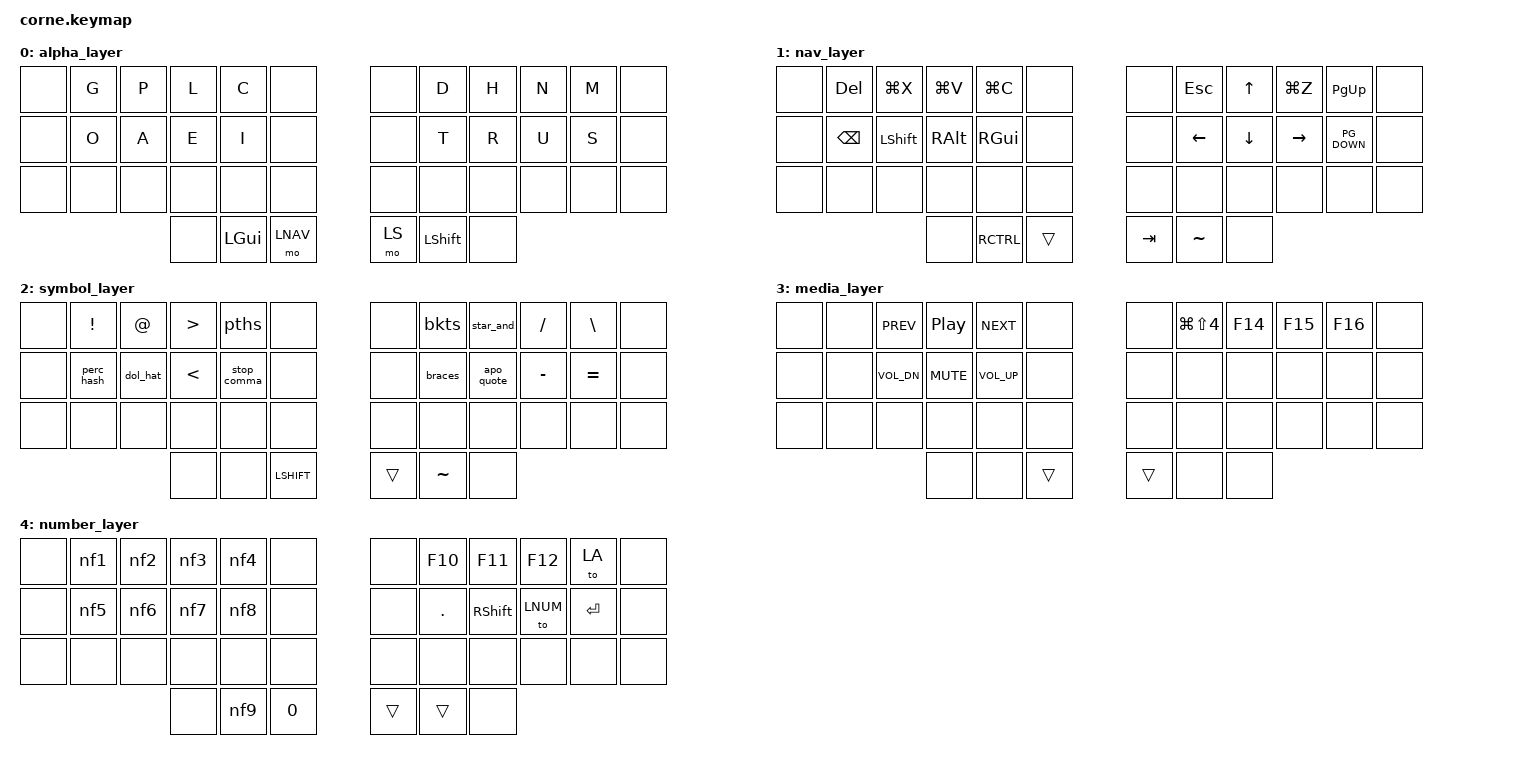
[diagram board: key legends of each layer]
/*
 * Copyright (c) 2020 The ZMK Contributors
 *
 * SPDX-License-Identifier: MIT
 */

#include <behaviors.dtsi>
#include <dt-bindings/zmk/keys.h>
#include <dt-bindings/zmk/bt.h>

#define LA 0
#define LNAV 1
#define LS 2
#define LM 3
#define LNUM 4

&mt {
    flavor = "tap-preferred";
    tapping-term-ms = <250>;
};

/ {
    combos {
        compatible = "zmk,combos";
        combo_ret1 {
            timeout-ms = <50>;
            key-positions = <15 16>;
            bindings = <&kp ENTER>;
        };
	combo_ret2 {
            timeout-ms = <50>;
            key-positions = <19 20>;
            bindings = <&kp ENTER>;
        };
	combo_q {
            timeout-ms = <50>;
            key-positions = <1 2>;
	    layers = <0>;
            bindings = <&kp Q>;
        };
	combo_j {
            timeout-ms = <50>;
            key-positions = <2 3>;
	    layers = <0>;
            bindings = <&kp J>;
        };
	combo_x {
            timeout-ms = <50>;
            key-positions = <1 13>;
	    layers = <0>;
            bindings = <&kp X>;
        };
	combo_b {
            timeout-ms = <50>;
            key-positions = <2 14>;
	    layers = <0>;
            bindings = <&kp B>;
        };
	combo_y {
            timeout-ms = <50>;
            key-positions = <3 15>;
	    layers = <0>;
            bindings = <&kp Y>;
        };
	combo_k {
            timeout-ms = <50>;
            key-positions = <4 16>;
	    layers = <0>;
            bindings = <&kp K>;
        };
	combo_z {
            timeout-ms = <50>;
            key-positions = <9 10>;
	    layers = <0>;
            bindings = <&kp Z>;
        };
	combo_f {
            timeout-ms = <50>;
            key-positions = <7 19>;
	    layers = <0>;
            bindings = <&kp F>;
        };
	combo_h {
            timeout-ms = <50>;
            key-positions = <8 20>;
	    layers = <0>;
            bindings = <&kp H>;
        };
	combo_w {
            timeout-ms = <50>;
            key-positions = <9 21>;
	    layers = <0>;
            bindings = <&kp W>;
        };
	combo_v {
            timeout-ms = <50>;
            key-positions = <10 22>;
	    layers = <0>;
            bindings = <&kp V>;
        };
	combo_tab {
            timeout-ms = <50>;
            key-positions = <37 38>;
	    layers = <0>;
            bindings = <&kp TAB>;
        };
	combo_layer_media {
            timeout-ms = <50>;
            key-positions = <38 39>;
	    layers = <0>;
            bindings = <&mo LM>;
        };
	combo_layer {
            timeout-ms = <50>;
            key-positions = <39 40>;
	    layers = <0>;
            bindings = <&mo LNUM>;
        };
    };
    
    macros {
        pths: parentheses {
            label = "Double parentheses";
            compatible = "zmk,behavior-macro";
            #binding-cells = <0>;
	    wait-ms = <40>;
	    tap-ms = <40>;
            bindings
                = <&kp LPAR &kp RPAR>
                , <&kp LEFT>
                ;
        };
	braces: braces {
            label = "Double braces";
            compatible = "zmk,behavior-macro";
            #binding-cells = <0>;
	    wait-ms = <40>;
	    tap-ms = <40>;
            bindings
                = <&kp LBRC &kp RBRC>
                , <&kp LEFT>
                ;
        };
	bkts: brackets {
            label = "Double brackets";
            compatible = "zmk,behavior-macro";
            #binding-cells = <0>;
	    wait-ms = <40>;
	    tap-ms = <40>;
            bindings
                = <&kp LBKT &kp RBKT>
                , <&kp LEFT>
                ;
        };
    };

        behaviors {
        perc_hash: percent_shift_hash {
            compatible = "zmk,behavior-mod-morph";
            label = "PERCENT_SHIFT_HASH";
            #binding-cells = <0>;
            bindings = <&kp PERCENT>, <&kp HASH>;
	    mods = <(MOD_LSFT)>;
        };
	dol_hat: dollar_shift_hat {
            compatible = "zmk,behavior-mod-morph";
            label = "DOLLAR_SHIFT_HAT";
            #binding-cells = <0>;
            bindings = <&kp PERCENT>, <&kp CARET>;
	    mods = <(MOD_LSFT)>;
        };
	stop_comma: stop_shift_comma {
            compatible = "zmk,behavior-mod-morph";
            label = "STOP_SHIFT_COMMA";
            #binding-cells = <0>;
            bindings = <&kp PERIOD>, <&kp COMMA>;
	    mods = <(MOD_LSFT)>;
        };
	apo_quote: apostrophe_shift_quotes {
            compatible = "zmk,behavior-mod-morph";
            label = "APOSTROPHE_SHIFT_QUOTES";
            #binding-cells = <0>;
            bindings = <&kp APOSTROPHE>, <&kp DOUBLE_QUOTES>;
	    mods = <(MOD_LSFT)>;
        };
	star_and: star_shift_ampersand {
            compatible = "zmk,behavior-mod-morph";
            label = "STAR_SHIFT_AMPERSAND";
            #binding-cells = <0>;
            bindings = <&kp ASTERISK>, <&kp AMPERSAND>;
	    mods = <(MOD_LSFT)>;
        };
	nf1: number_f1 {
            compatible = "zmk,behavior-mod-morph";
            label = "NUMBER_F1";
            #binding-cells = <0>;
            bindings = <&kp N1>, <&kp F1>;
	    mods = <(MOD_RSFT)>;
        };
	nf2: number_f2 {
            compatible = "zmk,behavior-mod-morph";
            label = "NUMBER_F2";
            #binding-cells = <0>;
            bindings = <&kp N2>, <&kp F2>;
	    mods = <(MOD_RSFT)>;
        };
	nf3: number_f3 {
            compatible = "zmk,behavior-mod-morph";
            label = "NUMBER_F3";
            #binding-cells = <0>;
            bindings = <&kp N3>, <&kp F3>;
	    mods = <(MOD_RSFT)>;
        };
	nf4: number_f4 {
            compatible = "zmk,behavior-mod-morph";
            label = "NUMBER_F4";
            #binding-cells = <0>;
            bindings = <&kp N4>, <&kp F4>;
	    mods = <(MOD_RSFT)>;
        };
	nf5: number_f5 {
            compatible = "zmk,behavior-mod-morph";
            label = "NUMBER_F5";
            #binding-cells = <0>;
            bindings = <&kp N5>, <&kp F5>;
	    mods = <(MOD_RSFT)>;
        };
	nf6: number_f6 {
            compatible = "zmk,behavior-mod-morph";
            label = "NUMBER_F6";
            #binding-cells = <0>;
            bindings = <&kp N6>, <&kp F6>;
	    mods = <(MOD_RSFT)>;
        };
	nf7: number_f7 {
            compatible = "zmk,behavior-mod-morph";
            label = "NUMBER_F7";
            #binding-cells = <0>;
            bindings = <&kp N7>, <&kp F7>;
	    mods = <(MOD_RSFT)>;
        };
	nf8: number_f8 {
            compatible = "zmk,behavior-mod-morph";
            label = "NUMBER_F8";
            #binding-cells = <0>;
            bindings = <&kp N8>, <&kp F8>;
	    mods = <(MOD_RSFT)>;
        };
	nf9: number_f9 {
            compatible = "zmk,behavior-mod-morph";
            label = "NUMBER_F9";
            #binding-cells = <0>;
            bindings = <&kp N9>, <&kp F9>;
	    mods = <(MOD_RSFT)>;
        };
    };

    keymap {
                compatible = "zmk,keymap";

                alpha_layer {
                bindings = <
   &none	&kp G		&kp P    	&kp L         	&kp C		&none	         	&none    	&kp D		&kp H         	&kp N		&kp M		&none
   &none	&kp O    	&kp A    	&kp E	 	&kp I		&none   	 	&none		&kp T		&kp R		&kp U		&kp S		&none
   &none	&none	 	&none 		&none 		&none	 	&none   	 	&none	 	&none  		&none		&none		&none		&none
                  				&none	 	&kp LGUI 	&mo LNAV		&mo LS		&kp LSHIFT 	&none
                	>;
                };

                nav_layer {
                bindings = <
   &none	&kp DEL		&kp LG(X)    	&kp LG(V)      	&kp LG(C)	&none	         	&none    	&kp ESC		&kp UP         	&kp LG(Z)	&kp PG_UP	&none
   &none	&kp BSPC    	&kp LSHIFT    	&kp RALT 	&kp RGUI	&none   	 	&none		&kp LEFT	&kp DOWN	&kp RIGHT	&kp PG_DOWN	&none
   &none	&none	 	&none 		&none 		&none	 	&none   	 	&none	 	&none  		&none		&none		&none		&none
                  				&none	 	&RCTRL	 	&trans			&kp TAB		&kp TILDE 	&none
                	>;
                };
                symbol_layer {
                bindings = <
   &none	&kp EXCL	&kp AT    	&kp GT      	&pths		&none	         	&none    	&bkts		&star_and      	&kp SLASH	&kp BACKSLASH	&none
   &none	&perc_hash    	&dol_hat    	&kp LT	 	&stop_comma	&none   	 	&none		&braces		&apo_quote	&kp MINUS	&kp EQUAL	&none
   &none	&none	 	&none 		&none 		&none	 	&none   	 	&none	 	&none  		&none		&none		&none		&none
                  				&none	 	&none	 	&LSHIFT			&trans		&kp TILDE 	&none
                	>;
                };
                media_layer {
                bindings = <
   &none	&none		&kp C_PREV    	&kp C_PP       	&kp C_NEXT	&none	         	&none    	&kp LG(LS(N4))	&kp F14        	&kp F15		&kp F16		&none
   &none	&none    	&kp C_VOL_DN   	&kp K_MUTE 	&kp C_VOL_UP	&none   	 	&none		&none		&none		&none		&none		&none
   &none	&none	 	&none 		&none 		&none	 	&none   	 	&none	 	&none  		&none		&none		&none		&none
                  				&none	 	&none	 	&trans			&trans		&none	 	&none
                	>;
                };
                number_layer {
                bindings = <
   &none	&nf1		&nf2	    	&nf3         	&nf4		&none	         	&none    	&kp F10		&kp F11        	&kp F12		&to LA		&none
   &none	&nf5	    	&nf6	    	&nf7	 	&nf8		&none   	 	&none		&kp PERIOD	&kp RSHIFT	&to LNUM	&kp ENTER	&none
   &none	&none	 	&none 		&none 		&none	 	&none   	 	&none	 	&none  		&none		&none		&none		&none
                  				&none	 	&nf9	 	&kp N0			&trans		&trans	 	&none
                	>;
                };
        };
};
